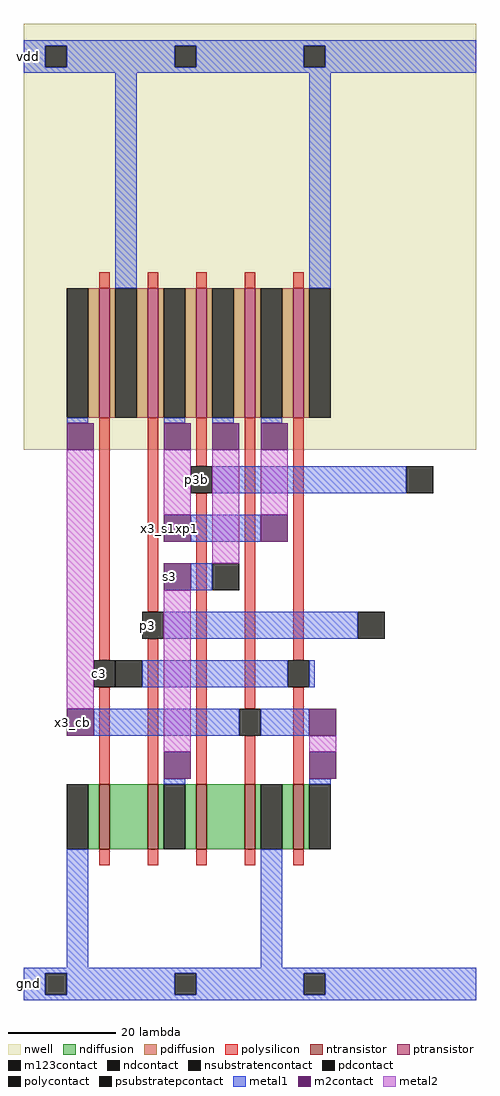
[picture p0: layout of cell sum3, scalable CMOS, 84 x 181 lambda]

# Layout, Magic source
magic
tech scmos
<< nwell >>
rect 0 102 84 181
<< ntransistor >>
rect 14 28 16 40
rect 23 28 25 40
rect 32 28 34 40
rect 41 28 43 40
rect 50 28 52 40
<< ptransistor >>
rect 14 108 16 132
rect 23 108 25 132
rect 32 108 34 132
rect 41 108 43 132
rect 50 108 52 132
<< ndiffusion >>
rect 12 28 14 40
rect 16 28 23 40
rect 25 28 26 40
rect 30 28 32 40
rect 34 28 41 40
rect 43 28 44 40
rect 48 28 50 40
rect 52 28 53 40
<< pdiffusion >>
rect 12 108 14 132
rect 16 108 17 132
rect 21 108 23 132
rect 25 108 26 132
rect 30 108 32 132
rect 34 108 35 132
rect 39 108 41 132
rect 43 108 44 132
rect 48 108 50 132
rect 52 108 53 132
<< ndcontact >>
rect 8 28 12 40
rect 26 28 30 40
rect 44 28 48 40
rect 53 28 57 40
<< pdcontact >>
rect 8 108 12 132
rect 17 108 21 132
rect 26 108 30 132
rect 35 108 39 132
rect 44 108 48 132
rect 53 108 57 132
<< psubstratepcontact >>
rect 4 1 8 5
rect 28 1 32 5
rect 52 1 56 5
<< nsubstratencontact >>
rect 4 173 8 177
rect 28 173 32 177
rect 52 173 56 177
<< polysilicon >>
rect 14 132 16 135
rect 23 132 25 135
rect 32 132 34 135
rect 41 132 43 135
rect 50 132 52 135
rect 14 63 16 108
rect 23 72 25 108
rect 32 99 34 108
rect 14 40 16 58
rect 23 40 25 67
rect 32 40 34 94
rect 41 54 43 108
rect 50 63 52 108
rect 41 40 43 49
rect 50 40 52 58
rect 14 25 16 28
rect 23 25 25 28
rect 32 25 34 28
rect 41 25 43 28
rect 50 25 52 28
<< polycontact >>
rect 31 94 35 99
rect 22 67 26 72
rect 13 58 17 63
rect 49 58 53 63
rect 40 49 44 54
<< metal1 >>
rect 0 177 84 178
rect 0 173 4 177
rect 8 173 28 177
rect 32 173 52 177
rect 56 173 84 177
rect 0 172 84 173
rect 17 132 21 172
rect 53 132 57 172
rect 8 107 12 108
rect 26 107 30 108
rect 35 107 39 108
rect 44 107 48 108
rect 35 94 71 99
rect 31 85 44 90
rect 31 76 35 81
rect 26 67 62 72
rect 22 58 49 63
rect 53 58 54 63
rect 13 49 40 54
rect 44 49 53 54
rect 26 40 30 41
rect 53 40 57 41
rect 8 6 12 28
rect 44 6 48 28
rect 0 5 84 6
rect 0 1 4 5
rect 8 1 28 5
rect 32 1 52 5
rect 56 1 84 5
rect 0 0 84 1
<< m2contact >>
rect 8 102 13 107
rect 26 102 31 107
rect 35 102 40 107
rect 44 102 49 107
rect 26 85 31 90
rect 44 85 49 90
rect 26 76 31 81
rect 8 49 13 54
rect 53 49 58 54
rect 26 41 31 46
rect 53 41 58 46
<< metal2 >>
rect 8 54 13 102
rect 26 90 31 102
rect 35 81 40 102
rect 44 90 49 102
rect 26 46 31 76
rect 53 46 58 49
<< m123contact >>
rect 71 94 76 99
rect 35 76 40 81
rect 17 58 22 63
rect 62 67 67 72
<< labels >>
rlabel metal1 13 58 15 63 0 c3
port 1 nsew
rlabel metal1 22 67 24 72 0 p3
port 2 nsew
rlabel metal1 31 94 33 99 0 p3b
port 3 nsew
rlabel m2contact 26 76 28 81 0 s3
port 4 nsew
rlabel m2contact 8 49 10 54 0 x3_cb
rlabel m2contact 26 85 28 90 0 x3_s1xp1
rlabel metal1 0 172 2 178 0 vdd
port 5 nsew
rlabel metal1 0 0 2 6 0 gnd
port 6 nsew
<< end >>
